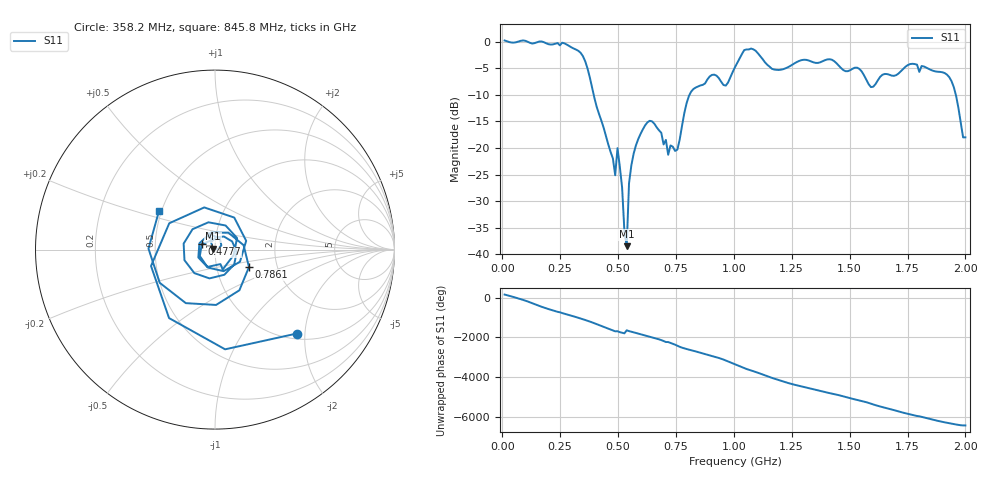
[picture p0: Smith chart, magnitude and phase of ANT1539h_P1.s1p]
!Created with skrf (http://scikit-rf.org).
# Hz S RI R 50.0
!freq ReS11 ImS11
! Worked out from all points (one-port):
!   201 points, 10 MHz to 2 GHz, reference 50 ohm
!   lowest |S11| = -38.5 dB at 537.4 MHz (marker M1), VSWR 1.02, Z = 48.9 + j0.448 ohm
!   |S11| at or under -10 dB: 394.8 MHz to 808.6 MHz (413.7 MHz wide, 68.8 % of centre); 1.959 GHz to end of sweep
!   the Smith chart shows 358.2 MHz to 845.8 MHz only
!   S11 on the Smith chart (normalised r, x): 358.2 MHz: 1.11, -1.81; 477.6 MHz: 0.86, +0.05; 786.1 MHz: 1.43, -0.29; 845.8 MHz: 0.48, +0.24
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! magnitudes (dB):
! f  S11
! 10 MHz  0.2
! 258.8 MHz  -0.2
! 358.2 MHz  -3.7
! 477.6 MHz  -22.0
! 487.6 MHz  -25.1
! 497.6 MHz  -20.0
! 507.5 MHz  -23.5
! 517.5 MHz  -27.4
! 527.4 MHz  -35.7
! 537.4 MHz  -38.5
! 547.3 MHz  -26.7
! 557.2 MHz  -23.3
! 607 MHz  -16.5
! 646.8 MHz  -15.0
! 716.5 MHz  -21.3
! 756.2 MHz  -20.3
! 786.1 MHz  -13.4
! 845.8 MHz  -8.4
! 965.2 MHz  -8.3
! 1.005 GHz  -4.8
! 1.075 GHz  -1.3
! 1.164 GHz  -5.1
! 1.254 GHz  -4.3
! 1.502 GHz  -5.4
! 1.592 GHz  -8.5
! 1.751 GHz  -4.4
! 1.93 GHz  -6.7
! 2 GHz  -18.0
